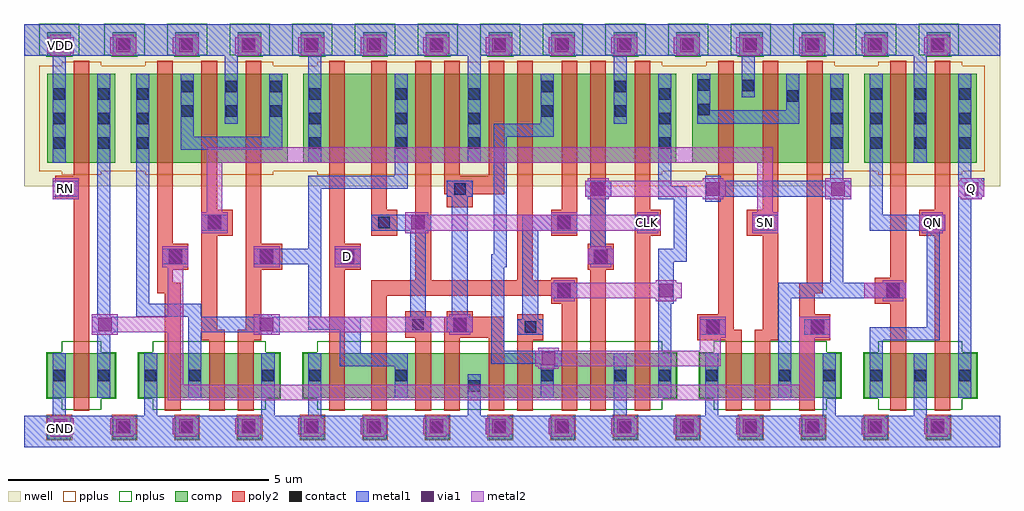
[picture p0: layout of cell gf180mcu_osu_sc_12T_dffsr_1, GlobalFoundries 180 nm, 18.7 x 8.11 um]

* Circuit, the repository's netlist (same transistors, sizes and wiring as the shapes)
.inc "../../char/techfiles/design.hspice"
.lib "../../char/techfiles/sm141064.hspice" typical

.GLOBAL VDD
.GLOBAL GND

.option scale=0.05u

.subckt gf180mcu_osu_sc_12T_dffsr_1 D SN RN Q QN CLK
X0 a_1_11 CLK a_42_106 VDD pmos_3p3 w=34 l=6
X1 a_75_106 a_52_11 a_1_11 VDD pmos_3p3 w=34 l=6
X2 a_n56_16 RN GND GND nmos_3p3 w=17 l=6
X3 a_n56_16 RN VDD VDD pmos_3p3 w=34 l=6
X4 VDD a_114_16 a_175_106 VDD pmos_3p3 w=34 l=6
X5 a_194_16 a_114_16 GND GND nmos_3p3 w=17 l=6
X6 a_n40_106 a_n56_16 GND GND nmos_3p3 w=17 l=6
X7 a_131_16 a_52_11 a_114_16 GND nmos_3p3 w=17 l=6
X8 a_42_106 D VDD VDD pmos_3p3 w=34 l=6
X9 a_75_16 CLK a_1_11 GND nmos_3p3 w=17 l=6
X10 a_135_65 SN a_194_16 GND nmos_3p3 w=17 l=6
X11 a_175_106 SN VDD VDD pmos_3p3 w=34 l=6
X12 a_135_65 a_n56_16 a_175_106 VDD pmos_3p3 w=34 l=6
X13 GND a_135_65 a_131_16 GND nmos_3p3 w=17 l=6
X14 a_1_11 a_52_11 a_42_16 GND nmos_3p3 w=17 l=6
X15 a_52_11 CLK VDD VDD pmos_3p3 w=34 l=6
X16 Q QN GND GND nmos_3p3 w=17 l=6
X17 a_n24_106 a_n56_16 a_n40_106 VDD pmos_3p3 w=34 l=6
X18 VDD SN a_n24_106 VDD pmos_3p3 w=34 l=6
X19 VDD a_135_65 a_131_106 VDD pmos_3p3 w=34 l=6
X20 GND a_135_65 QN GND nmos_3p3 w=17 l=6
X21 a_131_106 CLK a_114_16 VDD pmos_3p3 w=34 l=6
X22 a_n4_16 SN a_n40_106 GND nmos_3p3 w=17 l=6
X23 a_114_16 a_52_11 a_103_106 VDD pmos_3p3 w=34 l=6
X24 GND a_n56_16 a_135_65 GND nmos_3p3 w=17 l=6
X25 a_114_16 CLK a_103_16 GND nmos_3p3 w=17 l=6
X26 a_52_11 CLK GND GND nmos_3p3 w=17 l=6
X27 Q QN VDD VDD pmos_3p3 w=34 l=6
X28 a_42_16 D GND GND nmos_3p3 w=17 l=6
X29 VDD a_n40_106 a_75_106 VDD pmos_3p3 w=34 l=6
X30 a_103_106 a_n40_106 VDD VDD pmos_3p3 w=34 l=6
X31 VDD a_135_65 QN VDD pmos_3p3 w=34 l=6
X32 a_103_16 a_n40_106 GND GND nmos_3p3 w=17 l=6
X33 a_n24_106 a_1_11 VDD VDD pmos_3p3 w=34 l=6
X34 GND a_1_11 a_n4_16 GND nmos_3p3 w=17 l=6
X35 GND a_n40_106 a_75_16 GND nmos_3p3 w=17 l=6
.ends

** hspice subcircuit dictionary

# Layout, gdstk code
import gdstk
lib = gdstk.Library(unit=1e-6, precision=1e-09)
def R(c, l, rs):  # rectangles x0, y0, x1, y1
    for r in rs: c.add(gdstk.rectangle(r[:2], r[2:], *l))
def A(c, l, x, y, w, h, nx, ny, dx, dy):  # array of equal rectangles
    R(c, l, [(x+i*dx, y+j*dy, x+i*dx+w, y+j*dy+h) for i in range(nx) for j in range(ny)])
nwell = (21, 0)
comp = (22, 0)
poly2 = (30, 0)
pplus = (31, 0)
nplus = (32, 0)
contact = (33, 0)
metal1 = (34, 0)
via1 = (35, 0)
metal2 = (36, 0)

gf180mcu_osu_sc_12t_dffs = lib.new_cell('gf180mcu_osu_sc_12T_dffsr_1')
R(gf180mcu_osu_sc_12t_dffs, nwell, [(-4.05,4.85,14.65,7.95)])
A(gf180mcu_osu_sc_12t_dffs, comp, -2.35, 0, 0.45, 0.45, 14, 2, 1.2, 7.35)
R(gf180mcu_osu_sc_12t_dffs, comp, [(-3.6,0,-3.15,0.45), (-3.6,0.8,-2.3,1.65), (-1.85,0.8,0.85,1.65), (1.3,0.8,8.45,1.65), (8.9,0.8,11.6,1.65), (12.05,0.8,14.2,1.65), (-3.6,5.3,-2.3,7), (-2,5.3,1,7), (1.3,5.3,8.45,7), (8.75,5.3,11.75,7), (12.05,5.3,14.2,7), (-3.6,7.35,-3.15,7.8)])
R(gf180mcu_osu_sc_12t_dffs, poly2, [(-3.1,0.55,-2.8,4.6), (-1.35,0.55,-1.05,2.8), (-0.5,0.55,-0.2,1.9), (0.05,0.55,0.35,1.9), (1.8,0.55,2.1,3.25), (2.6,0.55,2.9,2.75), (3.45,0.55,3.75,1.95), (4,0.55,4.3,1.95), (4.85,0.55,5.15,1.95), (5.4,0.55,5.7,1.9), (6.25,0.55,6.55,2.6), (6.8,0.55,7.1,3.25), (7.65,0.55,7.95,3.9), (9.4,0.55,9.7,1.9), (9.95,0.55,10.25,1.9), (10.8,0.55,11.1,1.9), (12.55,0.55,12.85,2.6), (13.4,0.55,13.7,3.9), (-0.65,1.9,-0.2,2.1), (0.05,1.9,0.5,2.1), (5.4,1.9,5.9,2.4), (8.85,1.9,9.7,2.1), (9.95,1.9,10.4,2.1), (10.8,1.9,11.4,2.4), (3.25,1.95,3.75,2.45), (4,1.95,5.15,2.35), (-0.65,2.1,-0.35,3.9), (0.2,2.1,0.5,3.25), (8.85,2.1,9.55,2.4), (10.1,2.1,10.4,3.9), (4.05,2.35,4.55,2.45), (9.25,2.4,9.55,7.25), (10.8,2.4,11.1,2.8), (6.05,2.6,6.55,2.75), (12.25,2.6,12.85,3.1), (2.6,2.75,6.55,3.05), (-1.5,2.8,-1.05,3), (10.8,2.8,11.25,3), (-1.5,3,-1.2,3.25), (10.95,3,11.25,7.25), (3.45,3.05,3.75,7.25), (5.4,3.05,5.7,7.25), (6.05,3.05,6.55,3.1), (12.55,3.1,12.85,7.25), (-1.5,3.25,-0.9,3.75), (0.2,3.25,0.9,3.75), (1.8,3.25,2.4,3.75), (6.75,3.25,7.25,3.75), (-1.5,3.75,-1.2,7.25), (0.2,3.75,0.5,7.25), (1.8,3.75,2.1,7.25), (6.8,3.75,7.1,7.25), (-0.65,3.9,-0.05,4.4), (2.6,3.9,3.1,4.4), (6.05,3.9,6.55,4.4), (7.65,3.9,8.15,4.4), (9.8,3.9,10.4,4.4), (13.1,3.9,13.7,4.4), (-0.65,4.4,-0.35,7.25), (2.6,4.4,2.9,7.25), (6.25,4.4,6.55,7.25), (7.65,4.4,7.95,7.25), (10.1,4.4,10.4,7.25), (13.4,4.4,13.7,7.25), (4.05,4.45,4.55,4.7), (-3.45,4.6,-2.8,5.05), (4,4.7,5.15,5.05), (-3.1,5.05,-2.8,7.25), (4,5.05,4.3,7.25), (4.85,5.05,5.15,7.25)])
A(gf180mcu_osu_sc_12t_dffs, pplus, -2.37, -0.02, 0.49, 0.49, 14, 1, 1.2, 0)
R(gf180mcu_osu_sc_12t_dffs, pplus, [(-3.62,-0.02,-3.13,0.47), (-3.33,5.07,-2.57,5.14), (-1.73,5.07,0.73,5.14), (1.57,5.07,8.18,5.14), (9.02,5.07,11.48,5.14), (12.32,5.07,13.93,5.14), (-3.76,5.14,14.36,7.16), (-3.33,7.16,-2.57,7.23), (-1.73,7.16,0.73,7.23), (1.57,7.16,8.18,7.23), (9.02,7.16,11.48,7.23), (12.32,7.16,13.93,7.23)])
A(gf180mcu_osu_sc_12t_dffs, nplus, -2.37, 7.33, 0.49, 0.03, 14, 1, 1.2, 0)
A(gf180mcu_osu_sc_12t_dffs, nplus, -2.51, 7.36, 0.77, 0.6, 14, 1, 1.2, 0)
R(gf180mcu_osu_sc_12t_dffs, nplus, [(-3.33,0.57,-2.57,0.78), (-1.58,0.57,0.58,0.78), (1.57,0.57,8.18,0.78), (9.17,0.57,11.33,0.78), (12.32,0.57,13.93,0.78), (-3.62,0.78,-2.28,1.67), (-1.87,0.78,0.87,1.67), (1.28,0.78,8.47,1.67), (8.88,0.78,11.62,1.67), (12.03,0.78,14.22,1.67), (-3.33,1.67,-2.57,1.88), (-1.58,1.67,0.58,1.88), (1.57,1.67,8.18,1.88), (9.17,1.67,11.33,1.88), (12.32,1.67,13.93,1.88), (-3.62,7.33,-3.13,7.36), (-3.76,7.36,-2.99,7.96)])
A(gf180mcu_osu_sc_12t_dffs, contact, -2.235, 0.115, 0.22, 0.22, 14, 2, 1.2, 7.35)
A(gf180mcu_osu_sc_12t_dffs, contact, 12.165, 1.115, 0.22, 0.22, 3, 2, 0.85, 4.455)
A(gf180mcu_osu_sc_12t_dffs, contact, -3.485, 5.57, 0.22, 0.22, 1, 3, 0, 0.47)
A(gf180mcu_osu_sc_12t_dffs, contact, -2.635, 5.57, 0.22, 0.22, 1, 3, 0, 0.47)
A(gf180mcu_osu_sc_12t_dffs, contact, -1.885, 5.57, 0.22, 0.22, 1, 3, 0, 0.47)
A(gf180mcu_osu_sc_12t_dffs, contact, 1.415, 5.57, 0.22, 0.22, 1, 3, 0, 0.47)
A(gf180mcu_osu_sc_12t_dffs, contact, 3.065, 5.57, 0.22, 0.22, 1, 3, 0, 0.47)
A(gf180mcu_osu_sc_12t_dffs, contact, 4.465, 5.57, 0.22, 0.22, 1, 3, 0, 0.47)
A(gf180mcu_osu_sc_12t_dffs, contact, 8.115, 5.57, 0.22, 0.22, 1, 3, 0, 0.47)
A(gf180mcu_osu_sc_12t_dffs, contact, 11.415, 5.57, 0.22, 0.22, 1, 3, 0, 0.47)
A(gf180mcu_osu_sc_12t_dffs, contact, 12.165, 6.04, 0.22, 0.22, 3, 2, 0.85, 0.47)
A(gf180mcu_osu_sc_12t_dffs, contact, -1.035, 6.18, 0.22, 0.22, 3, 2, 0.85, 0.47)
R(gf180mcu_osu_sc_12t_dffs, contact, [(-3.485,0.115,-3.265,0.335), (4.465,0.915,4.685,1.135), (-3.485,1.115,-3.265,1.335), (-2.635,1.115,-2.415,1.335), (-1.735,1.115,-1.515,1.335), (-0.885,1.115,-0.665,1.335), (0.515,1.115,0.735,1.335), (1.415,1.115,1.635,1.335), (3.065,1.115,3.285,1.335), (5.865,1.115,6.085,1.335), (7.265,1.115,7.485,1.335), (8.115,1.115,8.335,1.335), (9.015,1.115,9.235,1.335), (10.415,1.115,10.635,1.335), (11.265,1.115,11.485,1.335), (5.54,2.04,5.76,2.26), (9.04,2.04,9.26,2.26), (11.04,2.04,11.26,2.26), (3.39,2.09,3.61,2.31), (4.19,2.09,4.41,2.31), (6.19,2.74,6.41,2.96), (12.49,2.74,12.71,2.96), (-1.26,3.39,-1.04,3.61), (0.49,3.39,0.71,3.61), (2.04,3.39,2.26,3.61), (6.89,3.39,7.11,3.61), (-0.51,4.04,-0.29,4.26), (2.74,4.04,2.96,4.26), (6.19,4.04,6.41,4.26), (7.79,4.04,8.01,4.26), (10.04,4.04,10.26,4.26), (13.24,4.04,13.46,4.26), (4.19,4.69,4.41,4.91), (-3.335,4.715,-3.115,4.935), (5.865,6.18,6.085,6.4), (7.265,6.18,7.485,6.4), (8.865,6.205,9.085,6.425), (10.565,6.465,10.785,6.685), (5.865,6.65,6.085,6.87), (7.265,6.65,7.485,6.87), (9.715,6.665,9.935,6.885), (8.865,6.675,9.085,6.895), (-3.485,7.465,-3.265,7.685)])
R(gf180mcu_osu_sc_12t_dffs, metal1, [(-4.05,-0.15,14.65,0.45), (-3.5,0.45,-3.25,1.65), (-1.75,0.45,-1.5,1.65), (0.5,0.45,0.75,1.65), (1.4,0.45,1.65,1.65), (4.45,0.45,4.7,1.25), (7.25,0.45,7.5,1.65), (9,0.45,9.25,1.65), (11.25,0.45,11.5,1.65), (13,0.45,13.25,1.65), (-2.65,0.8,-2.4,2), (-0.9,0.8,-0.65,2.05), (3.05,0.8,3.3,1.4), (5.85,0.8,6.1,1.4), (8.1,0.8,8.35,2.6), (10.4,0.8,10.65,2.7), (12.15,0.8,12.4,1.9), (13.85,0.8,14.1,4.6), (2,1.4,3.3,1.65), (5.85,1.4,6.25,1.45), (4.9,1.45,6.25,1.7), (2,1.65,2.4,2.1), (4.9,1.7,5.15,3.3), (12.15,1.9,13.5,2.15), (-2.65,2,-2.35,2.05), (0.45,2,0.7,2.05), (5.4,2,5.9,2.3), (8.9,2,9.4,2.3), (10.9,2,11.4,2.3), (-2.75,2.05,-2.25,2.35), (-0.9,2.05,0.85,2.35), (3.25,2.05,3.75,2.35), (4.05,2.05,4.55,2.35), (1.4,2.1,2.4,2.35), (13.25,2.15,13.5,4), (5.5,2.3,5.8,4), (-2.65,2.35,-2.4,7), (-1.9,2.35,-0.65,2.6), (0.45,2.35,0.7,2.4), (1.4,2.35,1.65,3.35), (3.35,2.35,3.65,4), (4.15,2.35,4.45,4.65), (-1.9,2.6,-1.65,7), (8.1,2.6,8.4,3.4), (6.05,2.7,6.55,3), (10.4,2.7,12.85,3), (11.4,3,11.65,4.65), (4.9,3.3,5.2,3.55), (-1.4,3.35,-0.9,3.65), (0.35,3.35,1.65,3.65), (1.9,3.35,2.4,3.65), (6.75,3.35,7.25,3.65), (8.1,3.4,8.65,3.65), (4.95,3.55,5.2,5.8), (1.4,3.65,1.65,4.8), (6.8,3.65,7.1,4.65), (8.4,3.65,8.65,4.6), (-0.65,4,-0.15,4.3), (2.6,4,3.75,4.3), (5.5,4,6.55,4.3), (7.65,4,8.15,4.3), (9.9,4,10.4,4.3), (12.15,4,13.6,4.3), (12.15,4.3,12.4,7), (9,4.55,9.3,4.65), (8.1,4.6,8.65,4.85), (13.85,4.6,14.3,4.65), (-3.5,4.65,-3,4.95), (4.05,4.65,4.55,4.95), (6.7,4.65,7.2,4.95), (9,4.65,11.8,4.95), (13.85,4.65,14.35,5), (1.4,4.8,3.3,5.05), (8.1,4.85,8.35,7), (9,4.95,9.3,5.05), (11.4,4.95,11.65,7), (13.85,5,14.1,7), (3.05,5.05,3.3,7), (-3.5,5.3,-3.25,7.35), (1.4,5.3,1.65,7.35), (4.45,5.3,4.7,7.35), (13,5.3,13.25,7.35), (-1.05,5.55,0.9,5.8), (-1.05,5.8,-0.8,7), (0.65,5.8,0.9,7), (4.95,5.8,6.1,6.05), (-0.2,6.05,0.05,7.35), (5.85,6.05,6.1,7), (7.25,6.05,7.5,7.35), (8.85,6.05,10.8,6.3), (8.85,6.3,9.1,7), (10.55,6.3,10.8,7), (9.7,6.55,9.95,7.35), (-4.05,7.35,14.65,7.95)])
A(gf180mcu_osu_sc_12t_dffs, via1, -3.48, 0.12, 0.26, 0.26, 15, 2, 1.2, 7.3)
R(gf180mcu_osu_sc_12t_dffs, via1, [(5.87,1.42,6.13,1.68), (9.02,2.02,9.28,2.28), (11.02,2.02,11.28,2.28), (-2.63,2.07,-2.37,2.33), (0.47,2.07,0.73,2.33), (4.17,2.07,4.43,2.33), (6.17,2.72,6.43,2.98), (8.12,2.72,8.38,2.98), (12.47,2.72,12.73,2.98), (-1.28,3.37,-1.02,3.63), (0.47,3.37,0.73,3.63), (2.02,3.37,2.28,3.63), (6.87,3.37,7.13,3.63), (-0.53,4.02,-0.27,4.28), (3.37,4.02,3.63,4.28), (6.17,4.02,6.43,4.28), (7.77,4.02,8.03,4.28), (10.02,4.02,10.28,4.28), (13.22,4.02,13.48,4.28), (-3.38,4.67,-3.12,4.93), (6.82,4.67,7.08,4.93), (9.02,4.67,9.28,4.93), (11.42,4.67,11.68,4.93), (13.97,4.67,14.23,4.93)])
A(gf180mcu_osu_sc_12t_dffs, metal2, -3.55, 0.05, 0.4, 0.05, 15, 2, 1.2, 0.35)
A(gf180mcu_osu_sc_12t_dffs, metal2, -3.6, 0.1, 0.5, 0.3, 15, 2, 1.2, 7.3)
A(gf180mcu_osu_sc_12t_dffs, metal2, -3.55, 7.35, 0.4, 0.05, 15, 2, 1.2, 0.35)
R(gf180mcu_osu_sc_12t_dffs, metal2, [(-1.3,0.75,11.1,1.05), (-1.3,1.05,-1,2.05), (10.8,1.05,11.1,1.95), (5.8,1.35,6.2,1.4), (5.75,1.4,9.3,1.7), (5.8,1.7,6.2,1.75), (8.9,1.7,9.3,1.95), (8.9,1.95,9.4,2.35), (10.8,1.95,11.4,2.35), (-2.75,2,-2.25,2.05), (0.35,2,0.85,2.05), (4.1,2,4.5,2.05), (-2.75,2.05,-1,2.35), (0.35,2.05,4.55,2.35), (-2.75,2.35,-2.25,2.4), (-1.3,2.35,-1,3.3), (0.35,2.35,0.85,2.4), (4.1,2.35,4.5,2.4), (6.1,2.65,6.5,2.7), (8.05,2.65,8.45,2.7), (12.4,2.65,12.8,2.7), (6.05,2.7,8.55,3), (12.05,2.7,12.85,3), (6.1,3,6.5,3.05), (8.05,3,8.45,3.05), (12.4,3,12.8,3.05), (-1.4,3.3,-0.9,3.7), (0.35,3.3,0.85,3.7), (1.9,3.3,2.4,3.7), (6.8,3.3,7.2,3.35), (6.75,3.35,7.25,3.65), (6.8,3.65,7.2,3.7), (-0.65,3.95,-0.15,4.35), (3.25,3.95,3.7,4), (6.05,3.95,6.55,4), (7.7,3.95,8.1,4), (9.9,3.95,10.4,4.35), (13.15,3.95,13.55,4), (3.25,4,8.15,4.3), (13.1,4,13.6,4.3), (3.25,4.3,3.7,4.35), (6.05,4.3,6.55,4.35), (7.7,4.3,8.1,4.35), (13.15,4.3,13.55,4.35), (-0.55,4.35,-0.25,5.3), (10,4.35,10.3,5.3), (-3.5,4.6,-3,5), (6.75,4.6,7.15,4.65), (8.95,4.6,9.35,4.65), (11.3,4.6,11.8,5), (13.9,4.6,14.3,4.65), (6.7,4.65,9.4,4.95), (13.85,4.65,14.35,4.95), (6.75,4.95,7.15,5), (8.95,4.95,9.35,5), (13.9,4.95,14.3,5), (-0.55,5.3,10.3,5.6)])
gf180mcu_osu_sc_12t_dffs.add(gdstk.Label('VDD', (-3.35,7.55), layer=36, texttype=0))
gf180mcu_osu_sc_12t_dffs.add(gdstk.Label('GND', (-3.35,0.2), layer=36, texttype=0))
gf180mcu_osu_sc_12t_dffs.add(gdstk.Label('D', (2.15,3.5), layer=36, texttype=10))
gf180mcu_osu_sc_12t_dffs.add(gdstk.Label('SN', (10.15,4.15), layer=36, texttype=10))
gf180mcu_osu_sc_12t_dffs.add(gdstk.Label('RN', (-3.25,4.8), layer=36, texttype=10))
gf180mcu_osu_sc_12t_dffs.add(gdstk.Label('Q', (14.1,4.8), layer=36, texttype=10))
gf180mcu_osu_sc_12t_dffs.add(gdstk.Label('QN', (13.35,4.15), layer=36, texttype=10))
gf180mcu_osu_sc_12t_dffs.add(gdstk.Label('CLK', (7.9,4.15), layer=36, texttype=10))

lib.write_gds('gf180mcu_osu_sc_12T_dffsr_1.gds')
